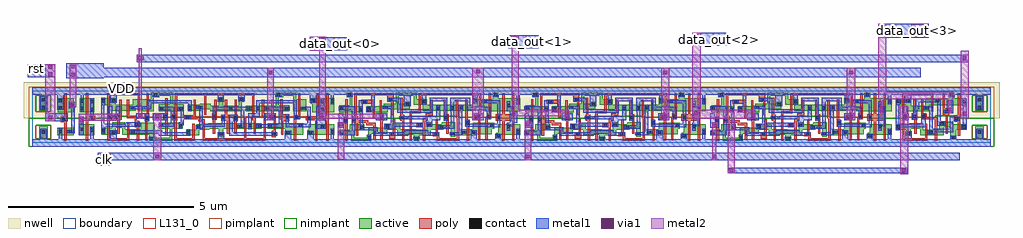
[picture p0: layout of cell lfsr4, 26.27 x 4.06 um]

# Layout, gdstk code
from math import pi, radians
import gdstk
lib = gdstk.Library(unit=1e-6, precision=1e-09)
def R(c, l, rs):  # rectangles x0, y0, x1, y1
    for r in rs: c.add(gdstk.rectangle(r[:2], r[2:], *l))
def P(c, l, *ps):  # polygons
    for p in ps: c.add(gdstk.Polygon(p, *l))
nwell = (3, 0)
active = (6, 0)
poly = (17, 0)
pimplant = (25, 0)
nimplant = (26, 0)
contact = (30, 0)
metal1 = (31, 0)
metal2 = (32, 0)
via1 = (51, 0)
boundary = (108, 0)
L131_0 = (131, 0)

cknd1bwp7t = lib.new_cell('CKND1BWP7T')
R(cknd1bwp7t, nwell, [(-0.235,0.66,0.835,1.635)])
R(cknd1bwp7t, active, [(0.07,0.2,0.52,0.405), (0.09,0.82,0.52,1.2)])
P(cknd1bwp7t, poly, [(0.165,0.555),(0.265,0.555),(0.265,0.06),(0.325,0.06),(0.325,0.57),(0.335,0.57),(0.335,0.68),(0.325,0.68),(0.325,1.34),(0.265,1.34),(0.265,0.705),(0.165,0.705)])
R(cknd1bwp7t, pimplant, [(-0.1,0.66,0.7,1.505)])
R(cknd1bwp7t, nimplant, [(-0.1,-0.105,0.7,0.66)])
R(cknd1bwp7t, contact, [(0.12,0.26,0.21,0.35), (0.385,0.26,0.475,0.35), (0.205,0.58,0.295,0.67), (0.12,0.895,0.21,0.985), (0.385,0.97,0.475,1.06), (0.12,1.095,0.21,1.185)])
R(cknd1bwp7t, metal1, [(0.05,0.58,0.35,0.79)])
P(cknd1bwp7t, metal1, [(0,-0.1),(0,0.1),(0.12,0.1),(0.12,0.395),(0.21,0.395),(0.21,0.1),(0.6,0.1),(0.6,-0.1)],
  [(0.08,0.895),(0.08,1.3),(0,1.3),(0,1.5),(0.6,1.5),(0.6,1.3),(0.25,1.3),(0.25,0.895)],
  [(0.345,0.255),(0.345,0.355),(0.45,0.355),(0.45,0.93),(0.385,0.93),(0.385,1.1),(0.55,1.1),(0.55,0.255)])
R(cknd1bwp7t, boundary, [(0,0,0.6,1.4)])
cknd1bwp7t.add(gdstk.Label('& SerialNumber 000000', (0,0), layer=63, texttype=63))
cknd1bwp7t.add(gdstk.Label('& Distributor TSMC', (0,0), layer=63, texttype=63))
cknd1bwp7t.add(gdstk.Label('& Metric 0.840', (0,0), layer=63, texttype=63))
cknd1bwp7t.add(gdstk.Label('& _Instance_tag CKND1BWP7T', (0,0), layer=63, texttype=63))
cknd1bwp7t.add(gdstk.Label('& Version 141a', (0,0), layer=63, texttype=63))
cknd1bwp7t.add(gdstk.Label('& Product tcbn65lpbwp7t', (0,0), layer=63, texttype=63))
cknd1bwp7t.add(gdstk.Label('& Vendor Taiwan Semiconductor Manufacturing Corp.', (0,0), layer=63, texttype=63))
cknd1bwp7t.add(gdstk.Label('& SerialNumber 000000', (0,0), layer=6, texttype=0))
cknd1bwp7t.add(gdstk.Label('& Distributor TSMC', (0,0), layer=6, texttype=0))
cknd1bwp7t.add(gdstk.Label('& Metric 0.840', (0,0), layer=6, texttype=0))
cknd1bwp7t.add(gdstk.Label('& _Instance_tag CKND1BWP7T', (0,0), layer=6, texttype=0))
cknd1bwp7t.add(gdstk.Label('& Version 141a', (0,0), layer=6, texttype=0))
cknd1bwp7t.add(gdstk.Label('& Product tcbn65lpbwp7t', (0,0), layer=6, texttype=0))
cknd1bwp7t.add(gdstk.Label('& Vendor Taiwan Semiconductor Manufacturing Corp.', (0,0), layer=6, texttype=0))
cknd1bwp7t.add(gdstk.Label('ZN', (0.5,0.7), layer=131, texttype=0))
cknd1bwp7t.add(gdstk.Label('VDD', (0.1,1.4), layer=131, texttype=0))
cknd1bwp7t.add(gdstk.Label('I', (0.1,0.7), layer=131, texttype=0))
cknd1bwp7t.add(gdstk.Label('VSS', (0.1,0), layer=131, texttype=0))
cknd1bwp7t.add(gdstk.Label('CKND1BWP7T', (0,0), layer=127, texttype=0))

dfcnqd2bwp7t = lib.new_cell('DFCNQD2BWP7T')
P(dfcnqd2bwp7t, nwell, [(-0.235,0.66),(-0.235,1.635),(5.235,1.635),(5.235,0.66),(4.385,0.66),(4.385,0.695),(3.25,0.695),(3.25,0.71),(1.925,0.71),(1.925,0.66)])
P(dfcnqd2bwp7t, active, [(3.34,0.21),(3.34,0.36),(3.66,0.36),(3.66,0.535),(4.23,0.535),(4.23,0.385),(4.175,0.385),(4.175,0.235),(3.75,0.235),(3.75,0.21)],
  [(4.285,0.12),(4.285,0.27),(4.34,0.27),(4.34,0.5),(4.935,0.5),(4.935,0.22),(4.405,0.22),(4.405,0.12)],
  [(0.8,0.82),(0.8,0.98),(1.26,0.98),(1.26,1.05),(1.58,1.05),(1.58,1.345),(2.15,1.345),(2.15,1.18),(2.42,1.18),(2.42,1.02),(3.66,1.02),(3.66,1.22),(3.78,1.22),(3.78,1.18),(4.2,1.18),(4.2,1.345),(4.35,1.345),(4.35,1.2),(4.935,1.2),(4.935,0.855),(3.975,0.855),(3.975,0.99),(3.75,0.99),(3.75,0.87),(2.31,0.87),(2.31,1.03),(2.07,1.03),(2.07,1.265),(1.66,1.265),(1.66,1.05),(1.84,1.05),(1.84,1.11),(1.96,1.11),(1.96,0.9),(1.37,0.9),(1.37,0.82)],
  [(0.07,0.82),(0.07,1.01),(0.34,1.01),(0.34,1.225),(0.27,1.225),(0.27,1.345),(0.42,1.345),(0.42,0.99),(0.69,0.99),(0.69,0.82)],
  [(0.39,0.055),(0.39,0.2),(0.07,0.2),(0.07,0.35),(0.34,0.35),(0.34,0.495),(0.74,0.495),(0.74,0.345),(0.47,0.345),(0.47,0.135),(0.81,0.135),(0.81,0.215),(0.85,0.215),(0.85,0.4),(1.28,0.4),(1.28,0.5),(1.705,0.5),(1.705,0.37),(2.13,0.37),(2.13,0.35),(2.425,0.35),(2.425,0.55),(2.545,0.55),(2.545,0.5),(2.82,0.5),(2.82,0.55),(3.18,0.55),(3.18,0.17),(3.06,0.17),(3.06,0.4),(2.88,0.4),(2.88,0.35),(2.525,0.35),(2.525,0.2),(2.215,0.2),(2.215,0.055),(2.065,0.055),(2.065,0.22),(1.625,0.22),(1.625,0.35),(1.355,0.35),(1.355,0.24),(0.93,0.24),(0.93,0.055)])
P(dfcnqd2bwp7t, poly, [(0.23,0.06),(0.23,0.53),(0.18,0.53),(0.18,0.7),(0.23,0.7),(0.23,1.17),(0.29,1.17),(0.29,0.06)],
  [(0.96,0.68),(0.96,1.05),(0.65,1.05),(0.65,1.16),(1.02,1.16),(1.02,0.68)],
  [(1.17,0.08),(1.17,0.59),(1.15,0.59),(1.15,1.14),(1.21,1.14),(1.21,0.77),(1.26,0.77),(1.26,0.59),(1.23,0.59),(1.23,0.08)],
  [(1.755,0.06),(1.755,0.59),(1.705,0.59),(1.705,0.76),(1.71,0.76),(1.71,1.215),(1.77,1.215),(1.77,0.76),(1.815,0.76),(1.815,0.06)],
  [(2.315,0.06),(2.315,0.42),(2.14,0.42),(2.14,0.53),(2.315,0.53),(2.315,0.66),(2.39,0.66),(2.39,0.79),(2.52,0.79),(2.52,1.16),(2.58,1.16),(2.58,0.73),(2.45,0.73),(2.45,0.6),(2.375,0.6),(2.375,0.06)],
  [(2.875,0.6),(2.875,1.16),(2.935,1.16),(2.935,0.77),(3.01,0.77),(3.01,0.24),(2.95,0.24),(2.95,0.6)],
  [(2.69,0.06),(2.69,0.18),(2.575,0.18),(2.575,0.29),(2.66,0.29),(2.66,0.64),(2.72,0.64),(2.72,0.29),(2.76,0.29),(2.76,0.12),(3.23,0.12),(3.23,0.665),(3.2,0.665),(3.2,1.16),(3.26,1.16),(3.26,0.725),(3.29,0.725),(3.29,0.06)],
  [(3.5,0.06),(3.5,0.435),(3.46,0.435),(3.46,1.16),(3.52,1.16),(3.52,0.615),(3.57,0.615),(3.57,0.435),(3.56,0.435),(3.56,0.06)],
  [(4,0.07),(4,0.695),(4.03,0.695),(4.03,0.8),(4.09,0.8),(4.09,1.34),(4.15,1.34),(4.15,0.63),(4.06,0.63),(4.06,0.07)],
  [(4.455,0.06),(4.455,0.595),(4.27,0.595),(4.27,0.765),(4.455,0.765),(4.455,1.34),(4.515,1.34),(4.515,0.765),(4.715,0.765),(4.715,1.34),(4.775,1.34),(4.775,0.06),(4.715,0.06),(4.715,0.595),(4.515,0.595),(4.515,0.06)],
  [(0.52,0.185),(0.52,0.545),(0.41,0.545),(0.41,0.715),(0.47,0.715),(0.47,1.34),(1.53,1.34),(1.53,0.76),(1.47,0.76),(1.47,1.11),(1.36,1.11),(1.36,1.28),(0.53,1.28),(0.53,0.715),(0.58,0.715),(0.58,0.605),(0.85,0.605),(0.85,0.54),(1.04,0.54),(1.04,0.08),(0.98,0.08),(0.98,0.48),(0.79,0.48),(0.79,0.545),(0.58,0.545),(0.58,0.185)],
  [(1.955,0.06),(1.955,0.85),(2.2,0.85),(2.2,1.34),(3.89,1.34),(3.89,0.83),(3.86,0.83),(3.86,0.07),(3.8,0.07),(3.8,0.64),(3.69,0.64),(3.69,0.75),(3.8,0.75),(3.8,0.89),(3.83,0.89),(3.83,1.28),(2.26,1.28),(2.26,0.79),(2.015,0.79),(2.015,0.06)],
  [(1.405,0.11),(1.405,0.29),(1.505,0.29),(1.505,0.64),(1.565,0.64),(1.565,0.29),(1.575,0.29),(1.575,0.11)])
P(dfcnqd2bwp7t, pimplant, [(-0.1,0.66),(-0.1,1.505),(5.1,1.505),(5.1,0.66),(4.385,0.66),(4.385,0.695),(3.25,0.695),(3.25,0.71),(1.925,0.71),(1.925,0.66)])
P(dfcnqd2bwp7t, nimplant, [(-0.1,-0.105),(-0.1,0.66),(1.925,0.66),(1.925,0.71),(3.25,0.71),(3.25,0.695),(4.385,0.695),(4.385,0.66),(5.1,0.66),(5.1,-0.105)])
R(dfcnqd2bwp7t, contact, [(2.095,0.07,2.185,0.16), (0.825,0.085,0.915,0.175), (4.3,0.15,4.39,0.24), (1.445,0.19,1.535,0.28), (2.615,0.19,2.705,0.28), (3.075,0.2,3.165,0.29), (0.085,0.23,0.175,0.32), (3.355,0.24,3.445,0.33), (3.64,0.25,3.73,0.34), (4.83,0.25,4.92,0.34), (0.635,0.375,0.725,0.465), (2.775,0.38,2.865,0.47), (1.315,0.395,1.405,0.485), (4.57,0.395,4.66,0.485), (4.125,0.415,4.215,0.505), (2.18,0.43,2.27,0.52), (2.44,0.43,2.53,0.52), (3.47,0.485,3.56,0.575), (0.19,0.57,0.28,0.66), (0.42,0.585,0.51,0.675), (1.16,0.63,1.25,0.72), (1.715,0.63,1.805,0.72), (4.31,0.635,4.4,0.725), (2.89,0.64,2.98,0.73), (3.73,0.65,3.82,0.74), (4.04,0.67,4.13,0.76), (0.585,0.85,0.675,0.94), (0.815,0.85,0.905,0.94), (0.085,0.88,0.175,0.97), (2.685,0.885,2.775,0.975), (3.055,0.89,3.145,0.98), (3.315,0.9,3.405,0.99), (1.275,0.915,1.365,1.005), (4.57,0.96,4.66,1.05), (1.855,0.99,1.945,1.08), (0.69,1.06,0.78,1.15), (2.315,1.06,2.405,1.15), (3.945,1.06,4.035,1.15), (4.83,1.08,4.92,1.17), (3.675,1.1,3.765,1.19), (1.4,1.12,1.49,1.21), (0.3,1.24,0.39,1.33), (4.23,1.24,4.32,1.33)])
R(dfcnqd2bwp7t, metal1, [(1.05,0.61,1.35,0.79), (3.65,0.61,3.95,0.79)])
P(dfcnqd2bwp7t, metal1, [(0.79,0.825),(0.79,0.97),(0.93,0.97),(0.93,1.3),(0.43,1.3),(0.43,1.24),(0.26,1.24),(0.26,1.3),(0,1.3),(0,1.5),(5,1.5),(5,1.3),(4.92,1.3),(4.92,1.04),(4.83,1.04),(4.83,1.3),(4.36,1.3),(4.36,1.24),(4.19,1.24),(4.19,1.3),(3.785,1.3),(3.785,1.06),(3.675,1.06),(3.675,1.3),(2.405,1.3),(2.405,1.02),(2.285,1.02),(2.285,1.3),(1.985,1.3),(1.985,0.99),(1.805,0.99),(1.805,1.3),(1.02,1.3),(1.02,0.88),(0.93,0.88),(0.93,0.825)],
  [(0.05,0.41),(0.05,0.79),(0.17,0.79),(0.17,0.7),(0.28,0.7),(0.28,0.53),(0.17,0.53),(0.17,0.41)],
  [(0.045,0.205),(0.045,0.32),(0.405,0.32),(0.405,0.88),(0.045,0.88),(0.045,0.99),(0.495,0.99),(0.495,0.715),(0.51,0.715),(0.51,0.545),(0.495,0.545),(0.495,0.205)],
  [(1.28,0.37),(1.28,0.51),(1.445,0.51),(1.445,0.915),(1.235,0.915),(1.235,1.005),(1.535,1.005),(1.535,0.54),(2.31,0.54),(2.31,0.43),(1.535,0.43),(1.535,0.37)],
  [(2.4,0.43),(2.4,0.63),(1.675,0.63),(1.675,0.72),(2.675,0.72),(2.675,1.015),(2.785,1.015),(2.785,0.61),(2.57,0.61),(2.57,0.43)],
  [(3.035,0.2),(3.035,0.29),(3.285,0.29),(3.285,1.03),(3.405,1.03),(3.405,0.86),(3.375,0.86),(3.375,0.33),(3.485,0.33),(3.485,0.24),(3.375,0.24),(3.375,0.2)],
  [(4.57,0.33),(4.57,0.535),(4.65,0.535),(4.65,0.85),(4.57,0.85),(4.57,1.115),(4.66,1.115),(4.66,0.99),(4.75,0.99),(4.75,0.44),(4.66,0.44),(4.66,0.33)],
  [(0.61,0.335),(0.61,0.81),(0.585,0.81),(0.585,1.15),(0.82,1.15),(0.82,1.06),(0.7,1.06),(0.7,0.515),(0.725,0.515),(0.725,0.425),(1.095,0.425),(1.095,0.28),(1.83,0.28),(1.83,0.34),(2.455,0.34),(2.455,0.28),(2.745,0.28),(2.745,0.19),(2.31,0.19),(2.31,0.25),(1.92,0.25),(1.92,0.19),(1.005,0.19),(1.005,0.335)],
  [(1.625,0.81),(1.625,1.12),(1.36,1.12),(1.36,1.21),(1.715,1.21),(1.715,0.9),(2.495,0.9),(2.495,1.21),(2.965,1.21),(2.965,0.77),(2.98,0.77),(2.98,0.6),(2.875,0.6),(2.875,1.12),(2.585,1.12),(2.585,0.81)],
  [(2.735,0.38),(2.735,0.47),(3.07,0.47),(3.07,0.85),(3.055,0.85),(3.055,1.21),(3.585,1.21),(3.585,0.97),(4.13,0.97),(4.13,0.63),(4.04,0.63),(4.04,0.88),(3.495,0.88),(3.495,1.12),(3.16,1.12),(3.16,0.38)],
  [(4.08,0.415),(4.08,0.43),(3.47,0.43),(3.47,0.615),(3.56,0.615),(3.56,0.52),(4.31,0.52),(4.31,1.06),(3.905,1.06),(3.905,1.15),(4.4,1.15),(4.4,0.415)],
  [(0,-0.1),(0,0.1),(0.825,0.1),(0.825,0.215),(0.915,0.215),(0.915,0.1),(2.055,0.1),(2.055,0.16),(2.225,0.16),(2.225,0.1),(3.6,0.1),(3.6,0.34),(3.77,0.34),(3.77,0.1),(4.26,0.1),(4.26,0.24),(4.43,0.24),(4.43,0.1),(4.83,0.1),(4.83,0.38),(4.92,0.38),(4.92,0.1),(5,0.1),(5,-0.1)])
R(dfcnqd2bwp7t, boundary, [(0,0,5,1.4)])
dfcnqd2bwp7t.add(gdstk.Label('& SerialNumber 000000', (0,0), layer=63, texttype=63))
dfcnqd2bwp7t.add(gdstk.Label('& Distributor TSMC', (0,0), layer=63, texttype=63))
dfcnqd2bwp7t.add(gdstk.Label('& Metric 7.000', (0,0), layer=63, texttype=63))
dfcnqd2bwp7t.add(gdstk.Label('& _Instance_tag DFCNQD2BWP7T', (0,0), layer=63, texttype=63))
dfcnqd2bwp7t.add(gdstk.Label('& Version 141a', (0,0), layer=63, texttype=63))
dfcnqd2bwp7t.add(gdstk.Label('& Product tcbn65lpbwp7t', (0,0), layer=63, texttype=63))
dfcnqd2bwp7t.add(gdstk.Label('& Vendor Taiwan Semiconductor Manufacturing Corp.', (0,0), layer=63, texttype=63))
dfcnqd2bwp7t.add(gdstk.Label('& SerialNumber 000000', (0,0), layer=6, texttype=0))
dfcnqd2bwp7t.add(gdstk.Label('& Distributor TSMC', (0,0), layer=6, texttype=0))
dfcnqd2bwp7t.add(gdstk.Label('& Metric 7.000', (0,0), layer=6, texttype=0))
dfcnqd2bwp7t.add(gdstk.Label('& _Instance_tag DFCNQD2BWP7T', (0,0), layer=6, texttype=0))
dfcnqd2bwp7t.add(gdstk.Label('& Version 141a', (0,0), layer=6, texttype=0))
dfcnqd2bwp7t.add(gdstk.Label('& Product tcbn65lpbwp7t', (0,0), layer=6, texttype=0))
dfcnqd2bwp7t.add(gdstk.Label('& Vendor Taiwan Semiconductor Manufacturing Corp.', (0,0), layer=6, texttype=0))
dfcnqd2bwp7t.add(gdstk.Label('D', (1.1,0.7), layer=131, texttype=0))
dfcnqd2bwp7t.add(gdstk.Label('CP', (0.1,0.7), layer=131, texttype=0))
dfcnqd2bwp7t.add(gdstk.Label('VDD', (0.1,1.4), layer=131, texttype=0))
dfcnqd2bwp7t.add(gdstk.Label('VSS', (0.1,0), layer=131, texttype=0))
dfcnqd2bwp7t.add(gdstk.Label('Q', (4.7,0.7), layer=131, texttype=0))
dfcnqd2bwp7t.add(gdstk.Label('CDN', (3.7,0.7), layer=131, texttype=0))
dfcnqd2bwp7t.add(gdstk.Label('DFCNQD2BWP7T', (0,0), layer=127, texttype=0))

sdfsnqd2bwp7t = lib.new_cell('SDFSNQD2BWP7T')
P(sdfsnqd2bwp7t, nwell, [(-0.235,0.66),(-0.235,1.635),(6.635,1.635),(6.635,0.66),(5.595,0.66),(5.595,0.69),(2.405,0.69),(2.405,0.695),(0.79,0.695),(0.79,0.71),(0.235,0.71),(0.235,0.66)])
P(sdfsnqd2bwp7t, active, [(3.945,0.855),(3.945,1.005),(4.75,1.005),(4.75,1.345),(5.305,1.345),(5.305,1.18),(5.575,1.18),(5.575,0.855),(5.225,0.855),(5.225,1.265),(4.96,1.265),(4.96,1.225),(4.83,1.225),(4.83,1.015),(5.115,1.015),(5.115,0.855)],
  [(3.22,0.17),(3.22,0.38),(2.96,0.38),(2.96,0.35),(2.7,0.35),(2.7,0.2),(2.35,0.2),(2.35,0.35),(2.62,0.35),(2.62,0.5),(2.945,0.5),(2.945,0.53),(4.38,0.53),(4.38,0.38),(3.34,0.38),(3.34,0.17)],
  [(5.01,0.22),(5.01,0.38),(4.54,0.38),(4.54,0.53),(5.495,0.53),(5.495,0.22)],
  [(5.615,0.22),(5.615,0.355),(5.645,0.355),(5.645,0.5),(6.335,0.5),(6.335,0.22)],
  [(2.99,0.85),(2.99,0.9),(2.73,0.9),(2.73,0.86),(2.385,0.86),(2.385,1.02),(2.705,1.02),(2.705,1.05),(3.005,1.05),(3.005,1),(3.215,1),(3.215,1.23),(3.335,1.23),(3.335,1),(3.755,1),(3.755,1.23),(3.905,1.23),(3.905,1.11),(3.835,1.11),(3.835,0.85)],
  [(1.165,0.855),(1.165,1.005),(0.985,1.005),(0.985,0.87),(0.335,0.87),(0.335,1.01),(0.065,1.01),(0.065,1.2),(0.445,1.2),(0.445,1.02),(0.905,1.02),(0.905,1.18),(1.39,1.18),(1.39,1.345),(1.99,1.345),(1.99,1.045),(2.275,1.045),(2.275,0.855),(1.6,0.855),(1.6,1.045),(1.91,1.045),(1.91,1.265),(1.625,1.265),(1.625,1.225),(1.47,1.225),(1.47,0.855)],
  [(0.065,0.22),(0.065,0.405),(0.355,0.405),(0.355,0.55),(0.705,0.55),(0.705,0.37),(1.125,0.37),(1.125,0.535),(1.5,0.535),(1.5,0.135),(1.895,0.135),(1.895,0.385),(1.61,0.385),(1.61,0.535),(2.245,0.535),(2.245,0.385),(1.975,0.385),(1.975,0.055),(1.35,0.055),(1.35,0.22),(0.625,0.22),(0.625,0.4),(0.445,0.4),(0.445,0.22)],
  [(5.735,0.82),(5.735,1.05),(5.695,1.05),(5.695,1.2),(6.335,1.2),(6.335,0.82)])
P(sdfsnqd2bwp7t, poly, [(2.29,0.63),(2.29,0.74),(2.545,0.74),(2.545,1.16),(2.605,1.16),(2.605,0.69),(2.73,0.69),(2.73,0.64),(2.845,0.64),(2.845,0.12),(3.9,0.12),(3.9,0.675),(3.96,0.675),(3.96,0.12),(4.43,0.12),(4.43,0.715),(4.38,0.715),(4.38,1.165),(4.44,1.165),(4.44,0.775),(4.49,0.775),(4.49,0.06),(2.785,0.06),(2.785,0.58),(2.67,0.58),(2.67,0.63)],
  [(3.06,0.24),(3.06,0.625),(3.045,0.625),(3.045,0.795),(3.105,0.795),(3.105,1.16),(3.165,1.16),(3.165,0.625),(3.12,0.625),(3.12,0.24)],
  [(3.44,0.24),(3.44,0.59),(3.285,0.59),(3.285,0.76),(3.385,0.76),(3.385,1.16),(3.445,1.16),(3.445,0.76),(3.5,0.76),(3.5,0.24)],
  [(3.64,0.24),(3.64,0.585),(3.62,0.585),(3.62,0.755),(3.645,0.755),(3.645,1.16),(3.705,1.16),(3.705,0.755),(3.73,0.755),(3.73,0.585),(3.7,0.585),(3.7,0.24)],
  [(4.65,0.15),(4.65,0.32),(4.7,0.32),(4.7,0.615),(4.64,0.615),(4.64,1.165),(4.7,1.165),(4.7,0.79),(4.76,0.79),(4.76,0.15)],
  [(1.785,0.185),(1.785,0.62),(1.72,0.62),(1.72,0.79),(1.785,0.79),(1.785,1.205),(1.845,1.205),(1.845,0.185)],
  [(4.9,0.22),(4.9,0.62),(4.88,0.62),(4.88,1.175),(4.94,1.175),(4.94,0.765),(5.12,0.765),(5.12,0.585),(4.96,0.585),(4.96,0.22)],
  [(5.24,0.06),(5.24,0.74),(5.355,0.74),(5.355,1.34),(5.415,1.34),(5.415,0.63),(5.3,0.63),(5.3,0.06)],
  [(5.815,0.06),(5.815,0.605),(5.56,0.605),(5.56,0.715),(5.855,0.715),(5.855,1.34),(5.915,1.34),(5.915,0.715),(6.115,0.715),(6.115,1.34),(6.175,1.34),(6.175,0.06),(6.115,0.06),(6.115,0.605),(5.875,0.605),(5.875,0.06)],
  [(0.225,0.06),(0.225,1.34),(1.095,1.34),(1.095,0.845),(1.035,0.845),(1.035,1.28),(0.285,1.28),(0.285,0.78),(0.335,0.78),(0.335,0.61),(0.285,0.61),(0.285,0.12),(0.755,0.12),(0.755,0.545),(0.815,0.545),(0.815,0.06)],
  [(1.24,0.06),(1.24,0.585),(1.235,0.585),(1.235,0.755),(1.28,0.755),(1.28,1.34),(1.34,1.34),(1.34,0.755),(1.355,0.755),(1.355,0.585),(1.3,0.585),(1.3,0.06)],
  [(2.025,0.06),(2.025,0.61),(1.965,0.61),(1.965,0.78),(2.04,0.78),(2.04,1.34),(4.18,1.34),(4.18,0.67),(4.22,0.67),(4.22,0.24),(4.16,0.24),(4.16,0.61),(4.12,0.61),(4.12,1.28),(2.89,1.28),(2.89,0.76),(2.83,0.76),(2.83,1.28),(2.1,1.28),(2.1,0.61),(2.085,0.61),(2.085,0.12),(2.51,0.12),(2.51,0.51),(2.57,0.51),(2.57,0.06)],
  [(0.495,0.24),(0.495,0.615),(0.455,0.615),(0.455,0.785),(0.545,0.785),(0.545,1.16),(0.605,1.16),(0.605,0.615),(0.555,0.615),(0.555,0.24)],
  [(0.745,0.665),(0.745,1.16),(0.805,1.16),(0.805,0.725),(1.015,0.725),(1.015,0.59),(1.075,0.59),(1.075,0.06),(1.015,0.06),(1.015,0.42),(0.955,0.42),(0.955,0.665)])
P(sdfsnqd2bwp7t, pimplant, [(-0.1,0.66),(-0.1,1.505),(6.5,1.505),(6.5,0.66),(5.595,0.66),(5.595,0.69),(2.405,0.69),(2.405,0.695),(0.79,0.695),(0.79,0.71),(0.235,0.71),(0.235,0.66)])
P(sdfsnqd2bwp7t, nimplant, [(-0.1,-0.105),(-0.1,0.66),(0.235,0.66),(0.235,0.71),(0.79,0.71),(0.79,0.695),(2.405,0.695),(2.405,0.69),(5.595,0.69),(5.595,0.66),(6.5,0.66),(6.5,-0.105)])
R(sdfsnqd2bwp7t, contact, [(1.38,0.07,1.47,0.16), (4.66,0.19,4.75,0.28), (3.235,0.2,3.325,0.29), (2.365,0.23,2.455,0.32), (5.04,0.235,5.13,0.325), (5.645,0.235,5.735,0.325), (0.34,0.25,0.43,0.34), (0.87,0.25,0.96,0.34), (6.23,0.25,6.32,0.34), (0.08,0.285,0.17,0.375), (2.635,0.38,2.725,0.47), (5.97,0.38,6.06,0.47), (3.755,0.4,3.845,0.49), (4.275,0.41,4.365,0.5), (4.555,0.41,4.645,0.5), (2.14,0.415,2.23,0.505), (4.015,0.415,4.105,0.505), (5.375,0.425,5.465,0.515), (1.64,0.43,1.73,0.52), (0.965,0.46,1.055,0.55), (5.6,0.615,5.69,0.705), (1.255,0.625,1.345,0.715), (3.63,0.625,3.72,0.715), (3.295,0.63,3.385,0.72), (5.02,0.63,5.11,0.72), (2.33,0.64,2.42,0.73), (5.28,0.64,5.37,0.73), (0.235,0.65,0.325,0.74), (1.975,0.65,2.065,0.74), (0.465,0.655,0.555,0.745), (4.65,0.655,4.74,0.745), (1.73,0.66,1.82,0.75), (3.055,0.665,3.145,0.755), (5.97,0.86,6.06,0.95), (1.64,0.88,1.73,0.97), (2.155,0.88,2.245,0.97), (3.5,0.88,3.59,0.97), (3.975,0.88,4.065,0.97), (4.495,0.88,4.585,0.97), (4.995,0.88,5.085,0.97), (4.235,0.885,4.325,0.975), (5.47,0.885,5.56,0.975), (2.4,0.89,2.49,0.98), (0.86,0.9,0.95,0.99), (2.66,0.915,2.75,1.005), (5.97,1.06,6.06,1.15), (0.08,1.08,0.17,1.17), (0.34,1.08,0.43,1.17), (5.71,1.08,5.8,1.17), (6.23,1.08,6.32,1.17), (3.23,1.11,3.32,1.2), (3.785,1.125,3.875,1.215), (1.47,1.24,1.56,1.33), (4.78,1.24,4.87,1.33)])
R(sdfsnqd2bwp7t, metal1, [(0.45,0.61,0.565,0.99), (1.45,0.61,1.835,0.79), (4.45,0.61,4.75,0.79)])
P(sdfsnqd2bwp7t, metal1, [(0,-0.1),(0,0.1),(0.3,0.1),(0.3,0.34),(0.47,0.34),(0.47,0.1),(1.34,0.1),(1.34,0.16),(1.51,0.16),(1.51,0.1),(3.195,0.1),(3.195,0.29),(3.365,0.29),(3.365,0.1),(4.995,0.1),(4.995,0.325),(5.17,0.325),(5.17,0.1),(5.605,0.1),(5.605,0.325),(5.775,0.325),(5.775,0.1),(6.23,0.1),(6.23,0.38),(6.32,0.38),(6.32,0.1),(6.4,0.1),(6.4,-0.1)],
  [(0.3,1.08),(0.3,1.3),(0,1.3),(0,1.5),(6.4,1.5),(6.4,1.3),(6.32,1.3),(6.32,1.04),(6.23,1.04),(6.23,1.3),(5.845,1.3),(5.845,1.08),(5.665,1.08),(5.665,1.3),(4.91,1.3),(4.91,1.24),(4.735,1.24),(4.735,1.3),(3.925,1.3),(3.925,1.125),(3.745,1.125),(3.745,1.3),(3.36,1.3),(3.36,1.11),(3.19,1.11),(3.19,1.3),(1.6,1.3),(1.6,1.24),(1.43,1.24),(1.43,1.3),(0.48,1.3),(0.48,1.08)],
  [(4.235,0.41),(4.235,0.5),(4.84,0.5),(4.84,0.88),(4.455,0.88),(4.455,0.97),(5.125,0.97),(5.125,0.88),(4.93,0.88),(4.93,0.41)],
  [(3.715,0.4),(3.715,0.49),(3.81,0.49),(3.81,0.88),(3.145,0.88),(3.145,0.625),(3.055,0.625),(3.055,0.97),(4.105,0.97),(4.105,0.88),(3.9,0.88),(3.9,0.4)],
  [(2.14,0.375),(2.14,0.56),(2.195,0.56),(2.195,0.86),(2.115,0.86),(2.115,0.97),(2.285,0.97),(2.285,0.73),(2.46,0.73),(2.46,0.64),(2.285,0.64),(2.285,0.47),(2.23,0.47),(2.23,0.375)],
  [(1.6,0.43),(1.6,0.52),(1.935,0.52),(1.935,0.88),(1.6,0.88),(1.6,0.97),(2.025,0.97),(2.025,0.78),(2.065,0.78),(2.065,0.61),(2.025,0.61),(2.025,0.43)],
  [(1.235,0.585),(1.235,0.65),(1.005,0.65),(1.005,0.79),(1.35,0.79),(1.35,0.585)],
  [(3.505,0.19),(3.505,0.755),(3.72,0.755),(3.72,0.585),(3.595,0.585),(3.595,0.28),(4.79,0.28),(4.79,0.19)],
  [(1.605,0.19),(1.605,0.25),(0.83,0.25),(0.83,0.34),(1.695,0.34),(1.695,0.28),(2.365,0.28),(2.365,0.36),(2.455,0.36),(2.455,0.19)],
  [(4.015,0.37),(4.015,0.79),(4.235,0.79),(4.235,1.15),(5.325,1.15),(5.325,0.73),(5.41,0.73),(5.41,0.64),(5.235,0.64),(5.235,1.06),(4.325,1.06),(4.325,0.7),(4.105,0.7),(4.105,0.37)],
  [(2.4,0.85),(2.4,1.06),(1.4,1.06),(1.4,0.9),(0.82,0.9),(0.82,0.99),(1.31,0.99),(1.31,1.15),(2.49,1.15),(2.49,0.85)],
  [(0.055,0.245),(0.055,1.21),(0.17,1.21),(0.17,1.04),(0.145,1.04),(0.145,0.52),(0.725,0.52),(0.725,0.55),(1.105,0.55),(1.105,0.43),(0.17,0.43),(0.17,0.245)],
  [(2.595,0.38),(2.595,0.47),(2.7,0.47),(2.7,0.915),(2.62,0.915),(2.62,1.005),(2.79,1.005),(2.79,0.52),(3.295,0.52),(3.295,0.76),(3.385,0.76),(3.385,0.43),(2.79,0.43),(2.79,0.38)],
  [(0.235,0.61),(0.235,0.78),(0.25,0.78),(0.25,0.99),(0.36,0.99),(0.36,0.61)],
  [(5.02,0.425),(5.02,0.765),(5.11,0.765),(5.11,0.515),(5.6,0.515),(5.6,0.885),(5.43,0.885),(5.43,0.975),(5.69,0.975),(5.69,0.425)],
  [(5.85,0.38),(5.85,0.99),(5.97,0.99),(5.97,1.19),(6.06,1.19),(6.06,0.82),(5.95,0.82),(5.95,0.47),(6.1,0.47),(6.1,0.38)])
R(sdfsnqd2bwp7t, boundary, [(0,0,6.4,1.4)])
sdfsnqd2bwp7t.add(gdstk.Label('& SerialNumber 000000', (0,0), layer=63, texttype=63))
sdfsnqd2bwp7t.add(gdstk.Label('& Distributor TSMC', (0,0), layer=63, texttype=63))
sdfsnqd2bwp7t.add(gdstk.Label('& Metric 8.960', (0,0), layer=63, texttype=63))
sdfsnqd2bwp7t.add(gdstk.Label('& _Instance_tag SDFSNQD2BWP7T', (0,0), layer=63, texttype=63))
sdfsnqd2bwp7t.add(gdstk.Label('& Version 141a', (0,0), layer=63, texttype=63))
sdfsnqd2bwp7t.add(gdstk.Label('& Product tcbn65lpbwp7t', (0,0), layer=63, texttype=63))
sdfsnqd2bwp7t.add(gdstk.Label('& Vendor Taiwan Semiconductor Manufacturing Corp.', (0,0), layer=63, texttype=63))
sdfsnqd2bwp7t.add(gdstk.Label('& SerialNumber 000000', (0,0), layer=6, texttype=0))
sdfsnqd2bwp7t.add(gdstk.Label('& Distributor TSMC', (0,0), layer=6, texttype=0))
sdfsnqd2bwp7t.add(gdstk.Label('& Metric 8.960', (0,0), layer=6, texttype=0))
sdfsnqd2bwp7t.add(gdstk.Label('& _Instance_tag SDFSNQD2BWP7T', (0,0), layer=6, texttype=0))
sdfsnqd2bwp7t.add(gdstk.Label('& Version 141a', (0,0), layer=6, texttype=0))
sdfsnqd2bwp7t.add(gdstk.Label('& Product tcbn65lpbwp7t', (0,0), layer=6, texttype=0))
sdfsnqd2bwp7t.add(gdstk.Label('& Vendor Taiwan Semiconductor Manufacturing Corp.', (0,0), layer=6, texttype=0))
sdfsnqd2bwp7t.add(gdstk.Label('VSS', (0.1,0), layer=131, texttype=0))
sdfsnqd2bwp7t.add(gdstk.Label('VDD', (0.1,1.4), layer=131, texttype=0))
sdfsnqd2bwp7t.add(gdstk.Label('SI', (0.5,0.7), layer=131, texttype=0))
sdfsnqd2bwp7t.add(gdstk.Label('SE', (0.3,0.7), layer=131, texttype=0))
sdfsnqd2bwp7t.add(gdstk.Label('SDN', (4.5,0.7), layer=131, texttype=0))
sdfsnqd2bwp7t.add(gdstk.Label('Q', (5.9,0.9), layer=131, texttype=0))
sdfsnqd2bwp7t.add(gdstk.Label('CP', (1.5,0.7), layer=131, texttype=0))
sdfsnqd2bwp7t.add(gdstk.Label('D', (1.3,0.7), layer=131, texttype=0))
sdfsnqd2bwp7t.add(gdstk.Label('SDFSNQD2BWP7T', (0,0), layer=127, texttype=0))

tielbwp7t = lib.new_cell('TIELBWP7T')
R(tielbwp7t, nwell, [(-0.235,0.66,0.835,1.635)])
R(tielbwp7t, active, [(0.07,0.2,0.465,0.5), (0.085,0.82,0.465,1.2)])
P(tielbwp7t, poly, [(0.245,0.06),(0.305,0.06),(0.305,0.62),(0.49,0.62),(0.49,0.73),(0.305,0.73),(0.305,1.34),(0.245,1.34)])
R(tielbwp7t, pimplant, [(-0.1,0.66,0.7,1.505)])
R(tielbwp7t, nimplant, [(-0.1,-0.105,0.7,0.66)])
R(tielbwp7t, contact, [(0.36,0.3,0.45,0.39), (0.1,0.32,0.19,0.41), (0.36,0.63,0.45,0.72), (0.36,0.855,0.45,0.945), (0.1,0.88,0.19,0.97), (0.36,1.075,0.45,1.165), (0.1,1.08,0.19,1.17)])
R(tielbwp7t, metal1, [(0.05,0.21,0.19,0.65), (0.36,0.59,0.45,1.205)])
P(tielbwp7t, metal1, [(0.1,0.84),(0.1,1.3),(0,1.3),(0,1.5),(0.6,1.5),(0.6,1.3),(0.19,1.3),(0.19,0.84)],
  [(0,-0.1),(0,0.1),(0.355,0.1),(0.355,0.43),(0.455,0.43),(0.455,0.1),(0.6,0.1),(0.6,-0.1)])
R(tielbwp7t, boundary, [(0,0,0.6,1.4)])
tielbwp7t.add(gdstk.Label('& SerialNumber 000000', (0,0), layer=63, texttype=63))
tielbwp7t.add(gdstk.Label('& Distributor TSMC', (0,0), layer=63, texttype=63))
tielbwp7t.add(gdstk.Label('& Metric 0.840', (0,0), layer=63, texttype=63))
tielbwp7t.add(gdstk.Label('& _Instance_tag TIELBWP7T', (0,0), layer=63, texttype=63))
tielbwp7t.add(gdstk.Label('& Version 141a', (0,0), layer=63, texttype=63))
tielbwp7t.add(gdstk.Label('& Product tcbn65lpbwp7t', (0,0), layer=63, texttype=63))
tielbwp7t.add(gdstk.Label('& Vendor Taiwan Semiconductor Manufacturing Corp.', (0,0), layer=63, texttype=63))
tielbwp7t.add(gdstk.Label('& SerialNumber 000000', (0,0), layer=6, texttype=0))
tielbwp7t.add(gdstk.Label('& Distributor TSMC', (0,0), layer=6, texttype=0))
tielbwp7t.add(gdstk.Label('& Metric 0.840', (0,0), layer=6, texttype=0))
tielbwp7t.add(gdstk.Label('& _Instance_tag TIELBWP7T', (0,0), layer=6, texttype=0))
tielbwp7t.add(gdstk.Label('& Version 141a', (0,0), layer=6, texttype=0))
tielbwp7t.add(gdstk.Label('& Product tcbn65lpbwp7t', (0,0), layer=6, texttype=0))
tielbwp7t.add(gdstk.Label('& Vendor Taiwan Semiconductor Manufacturing Corp.', (0,0), layer=6, texttype=0))
tielbwp7t.add(gdstk.Label('VSS', (0.1,0), layer=131, texttype=0))
tielbwp7t.add(gdstk.Label('ZN', (0.1,0.5), layer=131, texttype=0))
tielbwp7t.add(gdstk.Label('VDD', (0.1,1.4), layer=131, texttype=0))
tielbwp7t.add(gdstk.Label('TIELBWP7T', (0,0), layer=127, texttype=0))

xor2d0bwp7t = lib.new_cell('XOR2D0BWP7T')
P(xor2d0bwp7t, nwell, [(-0.235,0.66),(-0.235,1.635),(2.235,1.635),(2.235,0.66),(1.715,0.66),(1.715,0.73),(1.1,0.73),(1.1,0.69),(0.235,0.69),(0.235,0.66)])
P(xor2d0bwp7t, active, [(0.325,0.85),(0.325,1.01),(0.055,1.01),(0.055,1.2),(0.46,1.2),(0.46,1),(0.835,1),(0.835,1.2),(1.465,1.2),(1.465,1.345),(1.615,1.345),(1.615,1.2),(1.935,1.2),(1.935,1.01),(0.945,1.01),(0.945,0.85)],
  [(0.325,0.19),(0.325,0.35),(0.055,0.35),(0.055,0.5),(0.41,0.5),(0.41,0.53),(0.785,0.53),(0.785,0.35),(1.21,0.35),(1.21,0.57),(1.56,0.57),(1.56,0.5),(1.935,0.5),(1.935,0.35),(1.665,0.35),(1.665,0.09),(1.515,0.09),(1.515,0.42),(1.33,0.42),(1.33,0.2),(0.705,0.2),(0.705,0.38),(0.445,0.38),(0.445,0.19)])
P(xor2d0bwp7t, poly, [(0.215,0.06),(0.215,1.34),(1.055,1.34),(1.055,0.85),(0.995,0.85),(0.995,1.28),(0.275,1.28),(0.275,0.78),(0.325,0.78),(0.325,0.61),(0.275,0.61),(0.275,0.12),(0.835,0.12),(0.835,0.51),(0.895,0.51),(0.895,0.06)],
  [(1.715,0.19),(1.715,0.57),(1.62,0.57),(1.62,0.74),(1.715,0.74),(1.715,1.34),(1.775,1.34),(1.775,0.19)],
  [(0.545,0.24),(0.545,0.62),(0.475,0.62),(0.475,0.79),(0.515,0.79),(0.515,1.16),(0.575,1.16),(0.575,0.79),(0.605,0.79),(0.605,0.24)],
  [(0.725,0.63),(0.725,1.16),(0.785,1.16),(0.785,0.78),(0.875,0.78),(0.875,0.69),(1.155,0.69),(1.155,0.06),(1.095,0.06),(1.095,0.63)],
  [(1.305,0.755),(1.305,1.34),(1.365,1.34),(1.365,0.925),(1.48,0.925),(1.48,0.755),(1.445,0.755),(1.445,0.245),(1.385,0.245),(1.385,0.755)])
P(xor2d0bwp7t, pimplant, [(-0.1,0.66),(-0.1,1.505),(2.1,1.505),(2.1,0.66),(1.715,0.66),(1.715,0.73),(1.1,0.73),(1.1,0.69),(0.235,0.69),(0.235,0.66)])
P(xor2d0bwp7t, nimplant, [(-0.1,-0.105),(-0.1,0.66),(0.235,0.66),(0.235,0.69),(1.1,0.69),(1.1,0.73),(1.715,0.73),(1.715,0.66),(2.1,0.66),(2.1,-0.105)])
R(xor2d0bwp7t, contact, [(1.545,0.105,1.635,0.195), (0.34,0.22,0.43,0.31), (0.95,0.23,1.04,0.32), (0.07,0.38,0.16,0.47), (1.83,0.38,1.92,0.47), (1.24,0.465,1.33,0.555), (1.63,0.61,1.72,0.7), (0.225,0.65,0.315,0.74), (0.485,0.66,0.575,0.75), (0.755,0.66,0.845,0.75), (1.38,0.795,1.47,0.885), (0.84,0.895,0.93,0.985), (1.83,1.06,1.92,1.15), (0.07,1.08,0.16,1.17), (0.33,1.08,0.42,1.17), (1.12,1.095,1.21,1.185), (1.495,1.24,1.585,1.33)])
P(xor2d0bwp7t, metal1, [(0.225,0.61),(0.225,0.78),(0.25,0.78),(0.25,0.99),(0.35,0.99),(0.35,0.61)],
  [(0.91,0.23),(0.91,0.32),(0.95,0.32),(0.95,0.895),(0.8,0.895),(0.8,0.985),(1.04,0.985),(1.04,0.375),(1.5,0.375),(1.5,0.7),(1.76,0.7),(1.76,0.595),(1.59,0.595),(1.59,0.285),(1.08,0.285),(1.08,0.23)],
  [(0.045,0.335),(0.045,1.195),(0.185,1.195),(0.185,1.055),(0.135,1.055),(0.135,0.51),(0.735,0.51),(0.735,0.79),(0.845,0.79),(0.845,0.42),(0.16,0.42),(0.16,0.335)],
  [(1.16,0.465),(1.16,1.095),(0.67,1.095),(0.67,0.905),(0.62,0.905),(0.62,0.62),(0.485,0.62),(0.485,0.79),(0.53,0.79),(0.53,0.995),(0.58,0.995),(0.58,1.185),(1.25,1.185),(1.25,0.575),(1.37,0.575),(1.37,0.465)],
  [(1.34,0.79),(1.34,0.89),(1.41,0.89),(1.41,1.15),(1.59,1.15),(1.59,0.79)],
  [(0.29,1.08),(0.29,1.3),(0,1.3),(0,1.5),(2,1.5),(2,1.3),(1.625,1.3),(1.625,1.24),(1.455,1.24),(1.455,1.3),(0.46,1.3),(0.46,1.08)],
  [(1.805,0.355),(1.805,0.495),(1.85,0.495),(1.85,1.02),(1.83,1.02),(1.83,1.19),(1.95,1.19),(1.95,0.355)],
  [(0,-0.1),(0,0.1),(0.3,0.1),(0.3,0.31),(0.47,0.31),(0.47,0.1),(1.505,0.1),(1.505,0.195),(1.675,0.195),(1.675,0.1),(2,0.1),(2,-0.1)])
R(xor2d0bwp7t, boundary, [(0,0,2,1.4)])
xor2d0bwp7t.add(gdstk.Label('& SerialNumber 000000', (0,0), layer=63, texttype=63))
xor2d0bwp7t.add(gdstk.Label('& Distributor TSMC', (0,0), layer=63, texttype=63))
xor2d0bwp7t.add(gdstk.Label('& Metric 2.800', (0,0), layer=63, texttype=63))
xor2d0bwp7t.add(gdstk.Label('& _Instance_tag XOR2D0BWP7T', (0,0), layer=63, texttype=63))
xor2d0bwp7t.add(gdstk.Label('& Version 141a', (0,0), layer=63, texttype=63))
xor2d0bwp7t.add(gdstk.Label('& Product tcbn65lpbwp7t', (0,0), layer=63, texttype=63))
xor2d0bwp7t.add(gdstk.Label('& Vendor Taiwan Semiconductor Manufacturing Corp.', (0,0), layer=63, texttype=63))
xor2d0bwp7t.add(gdstk.Label('& SerialNumber 000000', (0,0), layer=6, texttype=0))
xor2d0bwp7t.add(gdstk.Label('& Distributor TSMC', (0,0), layer=6, texttype=0))
xor2d0bwp7t.add(gdstk.Label('& Metric 2.800', (0,0), layer=6, texttype=0))
xor2d0bwp7t.add(gdstk.Label('& _Instance_tag XOR2D0BWP7T', (0,0), layer=6, texttype=0))
xor2d0bwp7t.add(gdstk.Label('& Version 141a', (0,0), layer=6, texttype=0))
xor2d0bwp7t.add(gdstk.Label('& Product tcbn65lpbwp7t', (0,0), layer=6, texttype=0))
xor2d0bwp7t.add(gdstk.Label('& Vendor Taiwan Semiconductor Manufacturing Corp.', (0,0), layer=6, texttype=0))
xor2d0bwp7t.add(gdstk.Label('Z', (1.9,0.7), layer=131, texttype=0))
xor2d0bwp7t.add(gdstk.Label('A2', (1.5,0.9), layer=131, texttype=0))
xor2d0bwp7t.add(gdstk.Label('A1', (0.3,0.9), layer=131, texttype=0))
xor2d0bwp7t.add(gdstk.Label('VDD', (0.1,1.4), layer=131, texttype=0))
xor2d0bwp7t.add(gdstk.Label('VSS', (0.1,0), layer=131, texttype=0))
xor2d0bwp7t.add(gdstk.Label('XOR2D0BWP7T', (0,0), layer=127, texttype=0))

tapcellbwp7t = lib.new_cell('TAPCELLBWP7T')
R(tapcellbwp7t, nwell, [(-0.235,0.66,0.835,1.635)])
R(tapcellbwp7t, active, [(0.185,0.125,0.415,0.46), (0.185,0.86,0.415,1.255)])
R(tapcellbwp7t, pimplant, [(0.1,0.105,0.5,0.48)])
P(tapcellbwp7t, pimplant, [(-0.1,0.66),(-0.1,1.505),(0.7,1.505),(0.7,1.05),(0.5,1.05),(0.5,1.275),(0.1,1.275),(0.1,0.84),(0.5,0.84),(0.5,1.05),(0.7,1.05),(0.7,0.66)])
R(tapcellbwp7t, nimplant, [(0.1,0.84,0.5,1.275)])
P(tapcellbwp7t, nimplant, [(-0.1,-0.105),(-0.1,0.66),(0.7,0.66),(0.7,0.275),(0.5,0.275),(0.5,0.48),(0.1,0.48),(0.1,0.105),(0.5,0.105),(0.5,0.275),(0.7,0.275),(0.7,-0.105)])
R(tapcellbwp7t, contact, [(0.255,0.245,0.345,0.335), (0.255,0.91,0.345,1), (0.255,1.115,0.345,1.205)])
P(tapcellbwp7t, metal1, [(0,-0.1),(0,0.1),(0.21,0.1),(0.21,0.375),(0.39,0.375),(0.39,0.1),(0.6,0.1),(0.6,-0.1)],
  [(0.21,0.895),(0.21,1.3),(0,1.3),(0,1.5),(0.6,1.5),(0.6,1.3),(0.39,1.3),(0.39,0.895)])
R(tapcellbwp7t, boundary, [(0,0,0.6,1.4)])
tapcellbwp7t.add(gdstk.Label('& SerialNumber 000000', (0,0), layer=63, texttype=63))
tapcellbwp7t.add(gdstk.Label('& Distributor TSMC', (0,0), layer=63, texttype=63))
tapcellbwp7t.add(gdstk.Label('& Metric 0.840', (0,0), layer=63, texttype=63))
tapcellbwp7t.add(gdstk.Label('& _Instance_tag TAPCELLBWP7T', (0,0), layer=63, texttype=63))
tapcellbwp7t.add(gdstk.Label('& Version 141a', (0,0), layer=63, texttype=63))
tapcellbwp7t.add(gdstk.Label('& Product tcbn65lpbwp7t', (0,0), layer=63, texttype=63))
tapcellbwp7t.add(gdstk.Label('& Vendor Taiwan Semiconductor Manufacturing Corp.', (0,0), layer=63, texttype=63))
tapcellbwp7t.add(gdstk.Label('& SerialNumber 000000', (0,0), layer=6, texttype=0))
tapcellbwp7t.add(gdstk.Label('& Distributor TSMC', (0,0), layer=6, texttype=0))
tapcellbwp7t.add(gdstk.Label('& Metric 0.840', (0,0), layer=6, texttype=0))
tapcellbwp7t.add(gdstk.Label('& _Instance_tag TAPCELLBWP7T', (0,0), layer=6, texttype=0))
tapcellbwp7t.add(gdstk.Label('& Version 141a', (0,0), layer=6, texttype=0))
tapcellbwp7t.add(gdstk.Label('& Product tcbn65lpbwp7t', (0,0), layer=6, texttype=0))
tapcellbwp7t.add(gdstk.Label('& Vendor Taiwan Semiconductor Manufacturing Corp.', (0,0), layer=6, texttype=0))
tapcellbwp7t.add(gdstk.Label('TAPCELLBWP7T', (0,0), layer=127, texttype=0))
tapcellbwp7t.add(gdstk.Label('VSS', (0.1,0), layer=131, texttype=0))
tapcellbwp7t.add(gdstk.Label('VDD', (0.1,1.4), layer=131, texttype=0))

m2_m1_stdvia_c536 = lib.new_cell('M2_M1_stdvia_c536')
R(m2_m1_stdvia_c536, metal1, [(-0.09,-0.05,0.09,0.05)])
R(m2_m1_stdvia_c536, metal2, [(-0.05,-0.09,0.05,0.09)])
R(m2_m1_stdvia_c536, via1, [(-0.05,-0.05,0.05,0.05)])

m2_m1_stdvia_fb6c = lib.new_cell('M2_M1_stdvia_fb6c')
R(m2_m1_stdvia_fb6c, metal1, [(-0.09,-0.05,0.09,0.05)])
R(m2_m1_stdvia_fb6c, metal2, [(-0.09,-0.05,0.09,0.05)])
R(m2_m1_stdvia_fb6c, via1, [(-0.05,-0.05,0.05,0.05)])

m2_m1_stdvia_9941 = lib.new_cell('M2_M1_stdvia_9941')
R(m2_m1_stdvia_9941, metal1, [(-0.05,-0.09,0.05,0.09)])
R(m2_m1_stdvia_9941, metal2, [(-0.05,-0.09,0.05,0.09)])
R(m2_m1_stdvia_9941, via1, [(-0.05,-0.05,0.05,0.05)])

m2_m1_stdvia_8aa5 = lib.new_cell('M2_M1_stdvia_8aa5')
R(m2_m1_stdvia_8aa5, metal1, [(-0.05,-0.09,0.05,0.09)])
R(m2_m1_stdvia_8aa5, metal2, [(-0.09,-0.05,0.09,0.05)])
R(m2_m1_stdvia_8aa5, via1, [(-0.05,-0.05,0.05,0.05)])

m2_m1_stdvia_84ee = lib.new_cell('M2_M1_stdvia_84ee')
R(m2_m1_stdvia_84ee, metal1, [(-0.09,-0.175,0.09,0.175)])
R(m2_m1_stdvia_84ee, metal2, [(-0.09,-0.19,0.09,0.19)])
R(m2_m1_stdvia_84ee, via1, [(-0.05,-0.15,0.05,-0.05), (-0.05,0.05,0.05,0.15)])

m2_m1_stdvia_fab4 = lib.new_cell('M2_M1_stdvia_fab4')
R(m2_m1_stdvia_fab4, metal1, [(-0.09,-0.08,0.09,0.08)])
R(m2_m1_stdvia_fab4, metal2, [(-0.09,-0.05,0.09,0.05)])
R(m2_m1_stdvia_fab4, via1, [(-0.05,-0.05,0.05,0.05)])

m2_m1_stdvia_c906 = lib.new_cell('M2_M1_stdvia_c906')
R(m2_m1_stdvia_c906, metal1, [(-0.05,-0.19,0.05,0.19)])
R(m2_m1_stdvia_c906, metal2, [(-0.09,-0.15,0.09,0.15)])
R(m2_m1_stdvia_c906, via1, [(-0.05,-0.15,0.05,-0.05), (-0.05,0.05,0.05,0.15)])

m2_m1_stdvia_687e = lib.new_cell('M2_M1_stdvia_687e')
R(m2_m1_stdvia_687e, metal1, [(-0.09,-0.15,0.09,0.15)])
R(m2_m1_stdvia_687e, metal2, [(-0.09,-0.15,0.09,0.15)])
R(m2_m1_stdvia_687e, via1, [(-0.05,-0.15,0.05,-0.05), (-0.05,0.05,0.05,0.15)])

lfsr4 = lib.new_cell('lfsr4')
R(lfsr4, metal1, [(21.305,1.19,26.09,1.345), (4.33,1.39,4.68,1.54), (4.33,1.54,27.535,1.74), (15.82,2.42,16.05,2.54), (20.82,2.42,21.05,2.54), (10.22,2.46,10.47,2.85), (20.36,2.51,20.54,2.865), (25.34,2.51,25.52,3), (15.42,2.545,15.62,2.86), (2.925,2.59,3.22,2.8), (4.605,2.62,4.935,2.79), (3.82,2.66,3.96,2.71), (25.995,2.79,26.12,2.84), (3.485,3.75,4.075,4.155), (4.075,3.75,4.5,4.155), (2.45,3.78,3.19,4.13), (3.485,3.78,26.485,4.03), (5.38,4.185,27.775,4.385), (10.295,4.5,11.05,4.85), (10.7,4.5,11.05,4.85), (15.385,4.555,16.21,4.905), (20.34,4.625,21.255,4.92), (25.345,4.835,26.705,5.22), (20.34,4.92,21.255,4.975)])
R(lfsr4, metal2, [(25.94,1.16,26.15,3), (25.94,1.16,26.12,2.79), (21.295,1.19,21.48,2.905), (5.825,1.54,6.045,2.795), (15.82,1.54,16,2.6), (20.88,1.54,20.98,2.56), (10.79,1.55,10.97,2.56), (3.82,2.53,3.96,2.6), (2.925,2.59,3.19,4.13), (3.82,2.6,4.935,2.79), (8.89,2.62,9.07,4.03), (14.42,2.62,14.72,4.03), (19.5,2.62,19.72,4.025), (24.495,2.62,24.72,4.03), (5.435,2.66,5.52,4.555), (10.295,2.66,12.025,2.795), (10.295,2.66,10.47,4.645), (20.34,2.66,20.565,4.92), (20.34,2.66,22.025,2.905), (27.56,2.675,27.775,4.495), (15.47,2.72,15.665,4.75), (15.47,2.72,17.015,2.9), (25.38,2.81,25.48,3.29), (27.22,2.81,27.32,3.29), (3.58,2.97,3.76,4.03), (25.34,3.19,25.56,5.22), (25.34,3.19,27.36,3.39), (10.045,4.485,10.29,4.865), (10.295,4.645,10.47,4.85), (15.47,4.75,15.665,4.905), (20.34,4.92,20.565,4.975)])
R(lfsr4, L131_0, [(4.33,1.39,4.68,1.74), (2.45,3.78,2.8,4.13), (10.7,4.5,11.05,4.85), (15.86,4.555,16.21,4.905), (20.905,4.625,21.255,4.975), (26.23,4.85,26.58,5.2)])
lfsr4.add(gdstk.Reference(cknd1bwp7t, (3.17,2.01)))
lfsr4.add(gdstk.Reference(dfcnqd2bwp7t, (20.77,2.01)))
lfsr4.add(gdstk.Reference(dfcnqd2bwp7t, (15.77,2.01)))
lfsr4.add(gdstk.Reference(dfcnqd2bwp7t, (10.77,2.01)))
lfsr4.add(gdstk.Reference(sdfsnqd2bwp7t, (4.37,2.01)))
lfsr4.add(gdstk.Reference(tielbwp7t, (3.77,2.01)))
lfsr4.add(gdstk.Reference(xor2d0bwp7t, (25.77,2.01)))
lfsr4.add(gdstk.Reference(tapcellbwp7t, (2.57,2.01)))
lfsr4.add(gdstk.Reference(tapcellbwp7t, (27.77,2.01)))
lfsr4.add(gdstk.Reference(m2_m1_stdvia_c536, (14.565,2.71)))
lfsr4.add(gdstk.Reference(m2_m1_stdvia_c536, (14.565,3.93)))
lfsr4.add(gdstk.Reference(m2_m1_stdvia_c536, (21.975,2.75)))
lfsr4.add(gdstk.Reference(m2_m1_stdvia_c536, (20.43,2.815)))
lfsr4.add(gdstk.Reference(m2_m1_stdvia_c536, (15.91,1.64)))
lfsr4.add(gdstk.Reference(m2_m1_stdvia_c536, (15.91,2.51)))
lfsr4.add(gdstk.Reference(m2_m1_stdvia_c536, (25.43,2.9)))
lfsr4.add(gdstk.Reference(m2_m1_stdvia_c536, (27.27,2.9)))
lfsr4.add(gdstk.Reference(m2_m1_stdvia_c536, (20.93,1.64)))
lfsr4.add(gdstk.Reference(m2_m1_stdvia_c536, (20.93,2.47)))
lfsr4.add(gdstk.Reference(m2_m1_stdvia_c536, (16.965,2.75)))
lfsr4.add(gdstk.Reference(m2_m1_stdvia_c536, (15.52,2.81)))
lfsr4.add(gdstk.Reference(m2_m1_stdvia_c536, (11.975,2.705)))
lfsr4.add(gdstk.Reference(m2_m1_stdvia_c536, (10.35,2.75)))
lfsr4.add(gdstk.Reference(m2_m1_stdvia_fb6c, (4.77,2.705)))
lfsr4.add(gdstk.Reference(m2_m1_stdvia_9941, (3.89,2.62)))
lfsr4.add(gdstk.Reference(m2_m1_stdvia_8aa5, (3.055,2.695)))
lfsr4.add(gdstk.Reference(m2_m1_stdvia_8aa5, (20.45,4.675), rotation=3*pi/2))
lfsr4.add(gdstk.Reference(m2_m1_stdvia_8aa5, (3.67,3.84)))
lfsr4.add(gdstk.Reference(m2_m1_stdvia_8aa5, (20.45,4.885), rotation=3*pi/2))
lfsr4.add(gdstk.Reference(m2_m1_stdvia_8aa5, (5.475,2.75), rotation=3*pi/2))
lfsr4.add(gdstk.Reference(m2_m1_stdvia_8aa5, (27.67,2.795)))
lfsr4.add(gdstk.Reference(m2_m1_stdvia_8aa5, (27.665,4.285)))
lfsr4.add(gdstk.Reference(m2_m1_stdvia_8aa5, (5.475,4.285)))
lfsr4.add(gdstk.Reference(m2_m1_stdvia_8aa5, (24.605,2.71)))
lfsr4.add(gdstk.Reference(m2_m1_stdvia_8aa5, (24.605,3.905)))
lfsr4.add(gdstk.Reference(m2_m1_stdvia_8aa5, (19.61,2.71)))
lfsr4.add(gdstk.Reference(m2_m1_stdvia_8aa5, (19.61,3.905)))
lfsr4.add(gdstk.Reference(m2_m1_stdvia_8aa5, (8.98,2.71)))
lfsr4.add(gdstk.Reference(m2_m1_stdvia_8aa5, (8.98,3.905)))
lfsr4.add(gdstk.Reference(m2_m1_stdvia_8aa5, (3.67,4.065)))
lfsr4.add(gdstk.Reference(m2_m1_stdvia_8aa5, (3.67,3.02)))
lfsr4.add(gdstk.Reference(m2_m1_stdvia_8aa5, (10.88,2.51)))
lfsr4.add(gdstk.Reference(m2_m1_stdvia_8aa5, (5.935,2.71)))
lfsr4.add(gdstk.Reference(m2_m1_stdvia_8aa5, (5.935,1.64)))
lfsr4.add(gdstk.Reference(m2_m1_stdvia_84ee, (10.38,4.675)))
lfsr4.add(gdstk.Reference(m2_m1_stdvia_fab4, (26.075,2.71), rotation=pi))
lfsr4.add(gdstk.Reference(m2_m1_stdvia_fab4, (26.03,1.265)))
lfsr4.add(gdstk.Reference(m2_m1_stdvia_fab4, (21.385,1.265)))
lfsr4.add(gdstk.Reference(m2_m1_stdvia_c906, (25.45,5.025)))
lfsr4.add(gdstk.Reference(m2_m1_stdvia_687e, (3.055,3.955)))
lfsr4.add(gdstk.Reference(m2_m1_stdvia_687e, (15.565,4.73)))
lfsr4.add(gdstk.Label('VDD', (4.96,3.46), layer=131, texttype=0))
lfsr4.add(gdstk.Label('data_out<0>', (10.875,4.675), layer=131, texttype=0))
lfsr4.add(gdstk.Label('data_out<1>', (16.035,4.73), layer=131, texttype=0))
lfsr4.add(gdstk.Label('data_out<2>', (21.08,4.8), layer=131, texttype=0))
lfsr4.add(gdstk.Label('data_out<3>', (26.405,5.025), layer=131, texttype=0))
lfsr4.add(gdstk.Label('rst', (2.69,4.01), layer=131, texttype=0))
lfsr4.add(gdstk.Label('clk', (4.505,1.565), layer=131, texttype=0))

lib.write_gds('lfsr4.gds')
